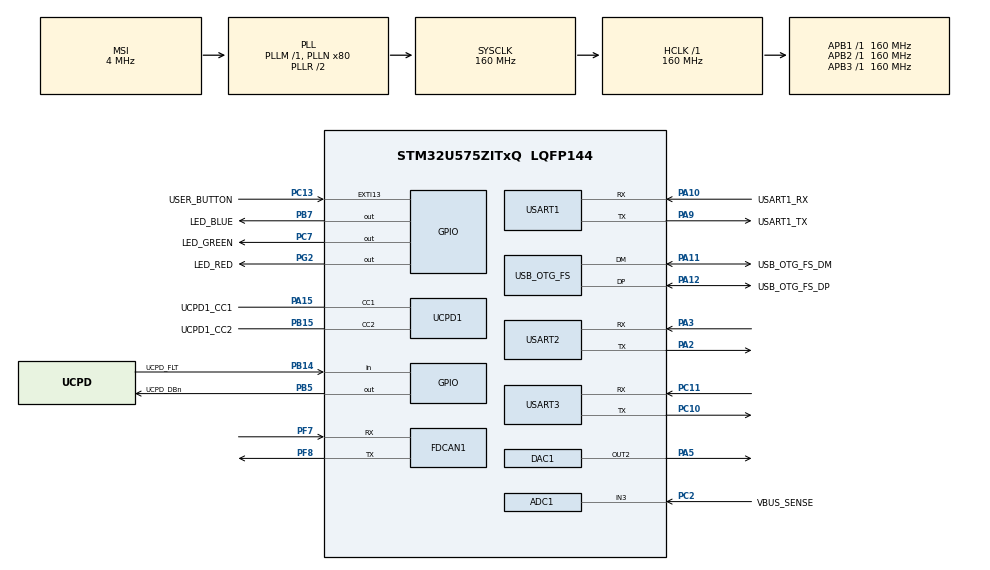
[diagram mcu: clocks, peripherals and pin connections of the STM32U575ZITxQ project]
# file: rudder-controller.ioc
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ADC1.NbrOfConversion=1
ADC1.Resolution=ADC_RESOLUTION_14B
ADC1.master=1
CORTEX_M33_NS.userName=CORTEX_M33
DAC1.DAC_Channel-DAC_OUT2=DAC_CHANNEL_2
FDCAN1.AutoRetransmission=ENABLE
FDCAN1.CalculateBaudRateNominal=1600000
FDCAN1.CalculateTimeBitNominal=625
FDCAN1.CalculateTimeQuantumNominal=31.25
FDCAN1.DataPrescaler=2
FDCAN1.DataSyncJumpWidth=11
FDCAN1.DataTimeSeg1=13
FDCAN1.DataTimeSeg2=11
FDCAN1.ExtFiltersNbr=1
FDCAN1.FrameFormat=FDCAN_FRAME_FD_NO_BRS
FDCAN1.Mode=FDCAN_MODE_EXTERNAL_LOOPBACK
FDCAN1.NominalPrescaler=5
FDCAN1.NominalSyncJumpWidth=3
FDCAN1.NominalTimeSeg1=16
FDCAN1.NominalTimeSeg2=3
FDCAN1.StdFiltersNbr=1
GPDMA1.DESTINC_GPDMACH15=DMA_DINC_INCREMENTED
GPDMA1.IPHANDLE_GPDMACH15-SIMPLEREQUEST_GPDMACH15=__NULL
GPDMA1.RECAP_GPDMACH15=GPDMA1_REQUEST_USART3_RX
GPDMA1.REQUEST_GPDMACH15=GPDMA1_REQUEST_USART3_RX
Mcu.Family=STM32U5
Mcu.Name=STM32U575ZITxQ
Mcu.Package=LQFP144
NVIC.FDCAN1_IT0_IRQn=true\:0\:0\:false\:false\:true\:true\:true\:true
NVIC.FDCAN1_IT1_IRQn=true\:0\:0\:false\:false\:true\:true\:true\:true
NVIC.GPDMA1_Channel15_IRQn=true\:0\:0\:false\:false\:true\:false\:true\:true
NVIC.OTG_FS_IRQn=true\:0\:0\:false\:false\:true\:true\:true\:true
NVIC.PriorityGroup=NVIC_PRIORITYGROUP_3
NVIC.USART3_IRQn=true\:0\:0\:false\:false\:true\:true\:true\:true
PA10.GPIO_Label=USART1_RX
PA10.GPIO_PuPd=GPIO_PULLDOWN
PA10.GPIO_Speed=GPIO_SPEED_FREQ_VERY_HIGH
PA10.Mode=Asynchronous
PA10.Signal=USART1_RX
PA11.GPIO_Label=USB_OTG_FS_DM
PA11.GPIO_Speed=GPIO_SPEED_FREQ_VERY_HIGH
PA11.Mode=Device_Only
PA11.Signal=USB_OTG_FS_DM
PA12.GPIO_Label=USB_OTG_FS_DP
PA12.GPIO_Speed=GPIO_SPEED_FREQ_VERY_HIGH
PA12.Mode=Device_Only
PA12.Signal=USB_OTG_FS_DP
PA13\ (JTMS/SWDIO).Mode=Trace_Asynchronous_SW
PA13\ (JTMS/SWDIO).Signal=DEBUG_JTMS-SWDIO
PA14\ (JTCK/SWCLK).Mode=Trace_Asynchronous_SW
PA14\ (JTCK/SWCLK).Signal=DEBUG_JTCK-SWCLK
PA15\ (JTDI).GPIO_Label=UCPD1_CC1
PA15\ (JTDI).Mode=Sink_AllSignals
PA15\ (JTDI).Signal=UCPD1_CC1
PA2.Mode=Asynchronous
PA2.Signal=USART2_TX
PA3.Mode=Asynchronous
PA3.Signal=USART2_RX
PA5.Signal=COMP_DAC12_group
PA9.GPIO_Label=USART1_TX
PA9.GPIO_PuPd=GPIO_PULLDOWN
PA9.GPIO_Speed=GPIO_SPEED_FREQ_VERY_HIGH
PA9.Mode=Asynchronous
PA9.Signal=USART1_TX
PB14.GPIO_Label=UCPD_FLT
PB14.Signal=GPIO_Input
PB15.GPIO_Label=UCPD1_CC2
PB15.Mode=Sink_AllSignals
PB15.Signal=UCPD1_CC2
PB3\ (JTDO/TRACESWO).Mode=Trace_Asynchronous_SW
PB3\ (JTDO/TRACESWO).Signal=DEBUG_JTDO-SWO
PB5.GPIO_Label=UCPD_DBn
PB5.Signal=GPIO_Output
PB7.GPIO_Label=LED_BLUE
PB7.GPIO_ModeDefaultOutputPP=GPIO_MODE_OUTPUT_PP
PB7.GPIO_PuPd=GPIO_PULLUP
PB7.GPIO_Speed=GPIO_SPEED_FREQ_HIGH
PB7.Signal=GPIO_Output
PC10.Mode=Asynchronous
PC10.Signal=USART3_TX
PC11.Mode=Asynchronous
PC11.Signal=USART3_RX
PC13.GPIO_Label=USER_BUTTON
PC13.GPIO_ModeDefaultEXTI=GPIO_MODE_IT_FALLING
PC13.Signal=GPXTI13
PC14-OSC32_IN\ (PC14).Mode=LSE-External-Oscillator
PC14-OSC32_IN\ (PC14).Signal=RCC_OSC32_IN
PC15-OSC32_OUT\ (PC15).Mode=LSE-External-Oscillator
PC15-OSC32_OUT\ (PC15).Signal=RCC_OSC32_OUT
PC2.GPIO_Label=VBUS_SENSE
PC2.Mode=IN3-Single-Ended
PC2.Signal=ADC1_IN3
PC7.GPIO_Label=LED_GREEN
PC7.GPIO_PuPd=GPIO_PULLUP
PC7.GPIO_Speed=GPIO_SPEED_FREQ_HIGH
PC7.Signal=GPIO_Output
PF7.Mode=FDCAN_Activate
PF7.Signal=FDCAN1_RX
PF8.Mode=FDCAN_Activate
PF8.Signal=FDCAN1_TX
PG2.GPIO_Label=LED_RED
PG2.GPIO_ModeDefaultOutputPP=GPIO_MODE_OUTPUT_PP
PG2.GPIO_PuPd=GPIO_PULLUP
PG2.GPIO_Speed=GPIO_SPEED_FREQ_HIGH
PG2.Signal=GPIO_Output
PWR.PowerMode=PWR_SMPS_SUPPLY
ProjectManager.HeapSize=0x200
ProjectManager.StackSize=0x400
ProjectManager.TargetToolchain=STM32CubeIDE
RCC.ADCFreq_Value=16000000
RCC.AHBFreq_Value=160000000
RCC.APB1Freq_Value=160000000
RCC.APB1TimFreq_Value=160000000
RCC.APB2Freq_Value=160000000
RCC.APB2TimFreq_Value=160000000
RCC.APB3Freq_Value=160000000
RCC.CortexFreq_Value=160000000
RCC.DACCLockSelectionVirtual=RCC_DAC1CLKSOURCE_LSI
RCC.EPOD_VALUE=4000000
RCC.HCLKFreq_Value=160000000
RCC.HSE_VALUE=16000000
RCC.HSI48_VALUE=48000000
RCC.HSI_VALUE=16000000
RCC.LSIDIV_VALUE=32000
RCC.MSI_VALUE=4000000
RCC.PLLN=80
RCC.SYSCLKFreq_VALUE=160000000
RCC.SYSCLKSource=RCC_SYSCLKSOURCE_PLLCLK
RCC.USBFreq_Value=48000000
RCC.VCOOutputFreq_Value=320000000
SH.COMP_DAC12_group.0=DAC1_OUT2,DAC_OUT2
USART1.VirtualMode-Asynchronous=VM_ASYNC
USART2.VirtualMode-Asynchronous=VM_ASYNC
USART3.VirtualMode-Asynchronous=VM_ASYNC
USB_OTG_FS.VirtualMode=Device_Only
VP_GPDMA1_VS_GPDMACH15.Mode=SIMPLEREQUEST_GPDMACH15
VP_ICACHE_VS_ENABLE_ICACHE_MEMORY.Mode=Memoryregions
VP_ICACHE_VS_ICACHE.Mode=DirectMappedCache
VP_LPBAMQUEUE_VS_QUEUE.Mode=QUEUEMODE
VP_LPBAM_VS_SIG1.Mode=SmartRun
VP_LPBAM_VS_SIG4.Mode=LPDMA1
VP_MEMORYMAP_VS_MEMORYMAP.Mode=CurAppReg
VP_PWR_VS_DBSignals.Mode=DisableDeadBatterySignals
VP_PWR_VS_LPOM.Mode=PowerOptimisation
VP_PWR_VS_SECSignals.Mode=Security/Privilege
VP_PWR_Vdda.Mode=isolationVdda
board=NUCLEO-U575ZI-Q

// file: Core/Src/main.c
/* USER CODE BEGIN Header */
/**
  ******************************************************************************
  * @file           : main.c
  * @brief          : Main program body
  ******************************************************************************
  * @attention
  *
  * Copyright (c) 2025 STMicroelectronics.
  * All rights reserved.
  *
  * This software is licensed under terms that can be found in the LICENSE file
  * in the root directory of this software component.
  * If no LICENSE file comes with this software, it is provided AS-IS.
  *
  ******************************************************************************
  */
/* USER CODE END Header */
#include "main.h"

/* USER CODE BEGIN Includes */

#include "RUDDER.h"
#include "RUDDER_PARAMS.h"
#include "RUDDERPID.h"
#include "NMEA0183.h"
#include <stdio.h>

/* USER CODE END Includes */

ADC_HandleTypeDef hadc1;

DAC_HandleTypeDef hdac1;

FDCAN_HandleTypeDef hfdcan1;

UART_HandleTypeDef huart1;
UART_HandleTypeDef huart2;
UART_HandleTypeDef huart3;
DMA_HandleTypeDef handle_GPDMA1_Channel15;

PCD_HandleTypeDef hpcd_USB_OTG_FS;

/* USER CODE BEGIN PV */
FDCAN_FilterTypeDef sFilterConfig;
FDCAN_TxHeaderTypeDef TxHeader1;
FDCAN_RxHeaderTypeDef RxHeader1;
FDCAN_RxHeaderTypeDef RxHeader2;
uint8_t RxData1[64];
uint8_t RxData2[64];
HAL_StatusTypeDef CanStartStatus;

float desiredRudderAngle = 0;

char uartBuffer[128];
/* USER CODE END PV */

void SystemClock_Config(void);
static void SystemPower_Config(void);
static void MX_GPIO_Init(void);
static void MX_GPDMA1_Init(void);
static void MX_ADC1_Init(void);
static void MX_ICACHE_Init(void);
static void MX_UCPD1_Init(void);
static void MX_USART1_UART_Init(void);
static void MX_FDCAN1_Init(void);
static void MX_USART2_UART_Init(void);
static void MX_USART3_UART_Init(void);
static void MX_USB_OTG_FS_PCD_Init(void);
static void MX_DAC1_Init(void);
/* USER CODE BEGIN PFP */
static uint8_t byte_to_dlc(uint8_t len);
static uint8_t dlc_to_bytes(uint8_t len);
/* USER CODE END PFP */

/* USER CODE BEGIN 0 */

NMEA0183 *ecompass;
const char PASHR_ENABLE_CMD[] = "$JASC,PASHR,10\x0D\x0A"; //enables PASHR sentence type
const char GPHDT_FREQ[] = "$JASC,GPHDT,1\x0D\x0A"; //allows heading data received at 10Hz

void uint32_to_little_endian_bytes(uint32_t value, uint8_t bytes[4]) {
    bytes[0] = (uint8_t)(value & 0xFF);
    bytes[1] = (uint8_t)((value >> 8) & 0xFF);
    bytes[2] = (uint8_t)((value >> 16) & 0xFF);
    bytes[3] = (uint8_t)((value >> 24) & 0xFF);
}

/* USER CODE END 0 */

int main(void)
{

  /* USER CODE BEGIN 1 */

  PIDControllerFixed fixedController = getRudderFixedParams();
  initController(fixedController);
  float rudderAngle = 0.0f;

  /* USER CODE END 1 */

  /* MCU Configuration--------------------------------------------------------*/

  /* Reset of all peripherals, Initializes the Flash interface and the Systick. */
  HAL_Init();

  /* Configure the System Power */
  SystemPower_Config();

  /* Configure the system clock */
  SystemClock_Config();

  /* Initialize all configured peripherals */
  MX_GPIO_Init();
  MX_GPDMA1_Init();
  MX_ADC1_Init();
  MX_ICACHE_Init();
  MX_UCPD1_Init();
  MX_USART1_UART_Init();
  MX_FDCAN1_Init();
  MX_USART2_UART_Init();
  MX_USART3_UART_Init();
  MX_USB_OTG_FS_PCD_Init();
  MX_DAC1_Init();
  /* USER CODE BEGIN 2 */

  ecompass = NMEA0183__create(&huart2);

    //signal sent to initialize PASHR sentence type
    if(HAL_UART_Transmit(&huart2, (uint8_t *)PASHR_ENABLE_CMD, 15, HAL_MAX_DELAY) != HAL_OK){
  	  printf("PASHR enable error \x0D\x0A");
    }

    //signal sent to set the transmission frequency for GPHDT sentence type
    if(HAL_UART_Transmit(&huart2, (uint8_t*)GPHDT_FREQ, 16, HAL_MAX_DELAY) != HAL_OK){
  	  printf("GPHDT frequency set error \x0D\x0A");
    }

  //CAN Setup
    /* Configure standard ID reception filter to Rx buffer 0 */
    sFilterConfig.IdType = FDCAN_STANDARD_ID;
    sFilterConfig.FilterIndex = 0;
    sFilterConfig.FilterType = FDCAN_FILTER_RANGE;
    sFilterConfig.FilterConfig = FDCAN_FILTER_TO_RXFIFO0;
    sFilterConfig.FilterID1 = 0x000;
    sFilterConfig.FilterID2 = 0x7FF;
    if (HAL_FDCAN_ConfigFilter(&hfdcan1, &sFilterConfig) != HAL_OK)
    {
      Error_Handler();
    }

    /* Configure extended ID reception filter to Rx FIFO 1 */
    sFilterConfig.IdType = FDCAN_EXTENDED_ID;
    sFilterConfig.FilterIndex = 0;
    sFilterConfig.FilterType = FDCAN_FILTER_RANGE_NO_EIDM;
    sFilterConfig.FilterConfig = FDCAN_FILTER_TO_RXFIFO1;
    sFilterConfig.FilterID1 = 0x1111111;
    sFilterConfig.FilterID2 = 0x2222222;
    if (HAL_FDCAN_ConfigFilter(&hfdcan1, &sFilterConfig) != HAL_OK)
    {
      Error_Handler();
    }

    /* Configure global filter:
       Filter all remote frames with STD and EXT ID
       Reject non matching frames with STD ID and EXT ID */
    if (HAL_FDCAN_ConfigGlobalFilter(&hfdcan1, FDCAN_ACCEPT_IN_RX_FIFO0, FDCAN_ACCEPT_IN_RX_FIFO0, FDCAN_FILTER_REMOTE, FDCAN_FILTER_REMOTE) != HAL_OK)
    {
        Error_Handler();
    }

    /*##-2 Start FDCAN controller (continuous listening CAN bus) ##############*/
    CanStartStatus = HAL_FDCAN_Start(&hfdcan1);
    if (CanStartStatus != HAL_OK)
    {
      Error_Handler();
    }

    if (HAL_FDCAN_ActivateNotification(&hfdcan1, FDCAN_IT_RX_FIFO0_NEW_MESSAGE, 0) != HAL_OK)
    {
      Error_Handler();
    }

    if (HAL_FDCAN_ActivateNotification(&hfdcan1, FDCAN_IT_RX_FIFO1_NEW_MESSAGE, 0) != HAL_OK)
    {
      Error_Handler();
    }
    char uartLine[128];
      uint8_t canDLC, canData[64];
      uint32_t canID = 0;
      uint8_t * txMsg = (uint8_t *) malloc (4);
  /* USER CODE END 2 */

  /* Infinite loop */
  /* USER CODE BEGIN WHILE */
  while (1)
  {
	  while (NMEA0183__itemsInBuffer(ecompass) > 0) {
	  		  NMEA0183Raw *data = NMEA0183__getTopBufferItem(ecompass);
	  		  data->scentenceData[data->scentenceLength] = '\0';
	  		  //testing
	  		  printf("Message: %s", data->scentenceData);

	  		  printf("Data integrity test: %d\x0D\x0A", NMEA0183__checkMessage(data));
	  //		  printf("Message type: %s\x0D\x0A", NMEA0183__getField(data, 0));

	  		  if(NMEA0183__getScentenceType(data) == MESSAGE_SHR){

	  			  int8_t *heading_data = NMEA0183__getField(data, 2);
	  			  int8_t *roll_data = NMEA0183__getField(data, 4);
	  			  int8_t *pitch_data = NMEA0183__getField(data, 5);

	  			  uint32_t heading = (atof(heading_data)+180)*1000; //32 bits
	  			  uint32_t pitch = (atof(pitch_data)+180)*1000; //32 bits
	  			  uint32_t roll = (atof(roll_data)+180)*1000; //32 bits

            controller.live.sailingState.currentHeading = heading / 1000.0f;
            controller.live.sailingState.heelAngle = (roll / 1000.0f) - 180.0f;

	  			  printf("Euler Data: %u, %u, %u \x0D\x0A", heading, roll, pitch);

	  			  uint32_t euler[] = {heading, pitch, roll};
	  			  //Transmission message from receiver board to main board
	  //			  if (CAN_Transmit(0x123, FDCAN_STANDARD_ID, FDCAN_DLC_BYTES_12, (uint8_t *) euler, &hfdcan1) != HAL_OK) {
	  //				  Error_Handler();
	  //			  }

	  		  }
	  		  else if(NMEA0183__getScentenceType(data) == MESSAGE_HDT){
	  			  int8_t *heading_data = NMEA0183__getField(data, 1);

	  			  uint32_t heading = (atof(heading_data)+180)*1000;
	  			  printf("Heading Data: %u \x0D\x0A", heading);

	  			  uint32_t euler[] = {heading};
	  			  //Transmission message from receiver board to main board
	  //			  if (CAN_Transmit(0x123, FDCAN_STANDARD_ID, FDCAN_DLC_BYTES_4, (uint8_t *) euler, &hfdcan1) != HAL_OK) {
	  //				  Error_Handler();
	  //			  }
	  		  }

	  		  printf("\x0D\x0A");

	  		  NMEA0183__incrementReadIndex(ecompass);
	  	  }
	  	  HAL_Delay(50);
	    }
    runPID(&rudderAngle);
}
    /* USER CODE END WHILE */

void SystemClock_Config(void)
{
  RCC_OscInitTypeDef RCC_OscInitStruct = {0};
  RCC_ClkInitTypeDef RCC_ClkInitStruct = {0};

  /** Configure the main internal regulator output voltage
  */
  if (HAL_PWREx_ControlVoltageScaling(PWR_REGULATOR_VOLTAGE_SCALE1) != HAL_OK)
  {
    Error_Handler();
  }

  /** Initializes the CPU, AHB and APB buses clocks
  */
  RCC_OscInitStruct.OscillatorType = RCC_OSCILLATORTYPE_HSI48|RCC_OSCILLATORTYPE_HSI
                              |RCC_OSCILLATORTYPE_LSI|RCC_OSCILLATORTYPE_MSI;
  RCC_OscInitStruct.HSIState = RCC_HSI_ON;
  RCC_OscInitStruct.HSI48State = RCC_HSI48_ON;
  RCC_OscInitStruct.HSICalibrationValue = RCC_HSICALIBRATION_DEFAULT;
  RCC_OscInitStruct.LSIState = RCC_LSI_ON;
  RCC_OscInitStruct.MSIState = RCC_MSI_ON;
  RCC_OscInitStruct.MSICalibrationValue = RCC_MSICALIBRATION_DEFAULT;
  RCC_OscInitStruct.MSIClockRange = RCC_MSIRANGE_4;
  RCC_OscInitStruct.LSIDiv = RCC_LSI_DIV1;
  RCC_OscInitStruct.PLL.PLLState = RCC_PLL_ON;
  RCC_OscInitStruct.PLL.PLLSource = RCC_PLLSOURCE_MSI;
  RCC_OscInitStruct.PLL.PLLMBOOST = RCC_PLLMBOOST_DIV1;
  RCC_OscInitStruct.PLL.PLLM = 1;
  RCC_OscInitStruct.PLL.PLLN = 80;
  RCC_OscInitStruct.PLL.PLLP = 2;
  RCC_OscInitStruct.PLL.PLLQ = 2;
  RCC_OscInitStruct.PLL.PLLR = 2;
  RCC_OscInitStruct.PLL.PLLRGE = RCC_PLLVCIRANGE_0;
  RCC_OscInitStruct.PLL.PLLFRACN = 0;
  if (HAL_RCC_OscConfig(&RCC_OscInitStruct) != HAL_OK)
  {
    Error_Handler();
  }

  /** Initializes the CPU, AHB and APB buses clocks
  */
  RCC_ClkInitStruct.ClockType = RCC_CLOCKTYPE_HCLK|RCC_CLOCKTYPE_SYSCLK
                              |RCC_CLOCKTYPE_PCLK1|RCC_CLOCKTYPE_PCLK2
                              |RCC_CLOCKTYPE_PCLK3;
  RCC_ClkInitStruct.SYSCLKSource = RCC_SYSCLKSOURCE_PLLCLK;
  RCC_ClkInitStruct.AHBCLKDivider = RCC_SYSCLK_DIV1;
  RCC_ClkInitStruct.APB1CLKDivider = RCC_HCLK_DIV1;
  RCC_ClkInitStruct.APB2CLKDivider = RCC_HCLK_DIV1;
  RCC_ClkInitStruct.APB3CLKDivider = RCC_HCLK_DIV1;

  if (HAL_RCC_ClockConfig(&RCC_ClkInitStruct, FLASH_LATENCY_4) != HAL_OK)
  {
    Error_Handler();
  }
}

/**
  * @brief Power Configuration
  * @retval None
  */
static void SystemPower_Config(void)
{
  HAL_PWREx_EnableVddIO2();

  /*
   * Switch to SMPS regulator instead of LDO
   */
  if (HAL_PWREx_ConfigSupply(PWR_SMPS_SUPPLY) != HAL_OK)
  {
    Error_Handler();
  }
}

static void MX_ADC1_Init(void)
{

  /** Common config
  */
  hadc1.Instance = ADC1;
  hadc1.Init.ClockPrescaler = ADC_CLOCK_ASYNC_DIV1;
  hadc1.Init.Resolution = ADC_RESOLUTION_14B;
  hadc1.Init.GainCompensation = 0;
  hadc1.Init.ScanConvMode = ADC_SCAN_DISABLE;
  hadc1.Init.EOCSelection = ADC_EOC_SINGLE_CONV;
  hadc1.Init.LowPowerAutoWait = DISABLE;
  hadc1.Init.ContinuousConvMode = DISABLE;
  hadc1.Init.NbrOfConversion = 1;
  hadc1.Init.DiscontinuousConvMode = DISABLE;
  hadc1.Init.DMAContinuousRequests = DISABLE;
  hadc1.Init.TriggerFrequencyMode = ADC_TRIGGER_FREQ_HIGH;
  hadc1.Init.Overrun = ADC_OVR_DATA_PRESERVED;
  hadc1.Init.LeftBitShift = ADC_LEFTBITSHIFT_NONE;
  hadc1.Init.ConversionDataManagement = ADC_CONVERSIONDATA_DR;
  hadc1.Init.OversamplingMode = DISABLE;
  if (HAL_ADC_Init(&hadc1) != HAL_OK)
  {
    Error_Handler();
  }

}

static void MX_DAC1_Init(void)
{

  DAC_ChannelConfTypeDef sConfig = {0};
  DAC_AutonomousModeConfTypeDef sAutonomousMode = {0};

  /** DAC Initialization
  */
  hdac1.Instance = DAC1;
  if (HAL_DAC_Init(&hdac1) != HAL_OK)
  {
    Error_Handler();
  }

  /** DAC channel OUT2 config
  */
  sConfig.DAC_HighFrequency = DAC_HIGH_FREQUENCY_INTERFACE_MODE_DISABLE;
  sConfig.DAC_DMADoubleDataMode = DISABLE;
  sConfig.DAC_SignedFormat = DISABLE;
  sConfig.DAC_SampleAndHold = DAC_SAMPLEANDHOLD_DISABLE;
  sConfig.DAC_Trigger = DAC_TRIGGER_NONE;
  sConfig.DAC_OutputBuffer = DAC_OUTPUTBUFFER_DISABLE;
  sConfig.DAC_ConnectOnChipPeripheral = DAC_CHIPCONNECT_EXTERNAL;
  sConfig.DAC_UserTrimming = DAC_TRIMMING_FACTORY;
  if (HAL_DAC_ConfigChannel(&hdac1, &sConfig, DAC_CHANNEL_2) != HAL_OK)
  {
    Error_Handler();
  }

  /** Configure Autonomous Mode
  */
  sAutonomousMode.AutonomousModeState = DAC_AUTONOMOUS_MODE_DISABLE;
  if (HAL_DACEx_SetConfigAutonomousMode(&hdac1, &sAutonomousMode) != HAL_OK)
  {
    Error_Handler();
  }

}

static void MX_FDCAN1_Init(void)
{

  hfdcan1.Instance = FDCAN1;
  hfdcan1.Init.ClockDivider = FDCAN_CLOCK_DIV1;
  hfdcan1.Init.FrameFormat = FDCAN_FRAME_FD_NO_BRS;
  hfdcan1.Init.Mode = FDCAN_MODE_EXTERNAL_LOOPBACK;
  hfdcan1.Init.AutoRetransmission = ENABLE;
  hfdcan1.Init.TransmitPause = DISABLE;
  hfdcan1.Init.ProtocolException = DISABLE;
  hfdcan1.Init.NominalPrescaler = 5;
  hfdcan1.Init.NominalSyncJumpWidth = 3;
  hfdcan1.Init.NominalTimeSeg1 = 16;
  hfdcan1.Init.NominalTimeSeg2 = 3;
  hfdcan1.Init.DataPrescaler = 2;
  hfdcan1.Init.DataSyncJumpWidth = 11;
  hfdcan1.Init.DataTimeSeg1 = 13;
  hfdcan1.Init.DataTimeSeg2 = 11;
  hfdcan1.Init.StdFiltersNbr = 1;
  hfdcan1.Init.ExtFiltersNbr = 1;
  hfdcan1.Init.TxFifoQueueMode = FDCAN_TX_FIFO_OPERATION;
  if (HAL_FDCAN_Init(&hfdcan1) != HAL_OK)
  {
    Error_Handler();
  }

}

static void MX_GPDMA1_Init(void)
{

  /* Peripheral clock enable */
  __HAL_RCC_GPDMA1_CLK_ENABLE();

  /* GPDMA1 interrupt Init */
    HAL_NVIC_SetPriority(GPDMA1_Channel15_IRQn, 0, 0);
    HAL_NVIC_EnableIRQ(GPDMA1_Channel15_IRQn);

}

static void MX_ICACHE_Init(void)
{

  /** Enable instruction cache in 1-way (direct mapped cache)
  */
  if (HAL_ICACHE_ConfigAssociativityMode(ICACHE_1WAY) != HAL_OK)
  {
    Error_Handler();
  }
  if (HAL_ICACHE_Enable() != HAL_OK)
  {
    Error_Handler();
  }

}

static void MX_UCPD1_Init(void)
{

  LL_GPIO_InitTypeDef GPIO_InitStruct = {0};

  /* Peripheral clock enable */
  LL_APB1_GRP2_EnableClock(LL_APB1_GRP2_PERIPH_UCPD1);

  LL_AHB2_GRP1_EnableClock(LL_AHB2_GRP1_PERIPH_GPIOB);
  LL_AHB2_GRP1_EnableClock(LL_AHB2_GRP1_PERIPH_GPIOA);
  /**UCPD1 GPIO Configuration
  PB15   ------> UCPD1_CC2
  PA15 (JTDI)   ------> UCPD1_CC1
  */
  GPIO_InitStruct.Pin = LL_GPIO_PIN_15;
  GPIO_InitStruct.Mode = LL_GPIO_MODE_ANALOG;
  GPIO_InitStruct.Pull = LL_GPIO_PULL_NO;
  LL_GPIO_Init(GPIOB, &GPIO_InitStruct);

  GPIO_InitStruct.Pin = LL_GPIO_PIN_15;
  GPIO_InitStruct.Mode = LL_GPIO_MODE_ANALOG;
  GPIO_InitStruct.Pull = LL_GPIO_PULL_NO;
  LL_GPIO_Init(GPIOA, &GPIO_InitStruct);

}

static void MX_USART1_UART_Init(void)
{

  huart1.Instance = USART1;
  huart1.Init.BaudRate = 115200;
  huart1.Init.WordLength = UART_WORDLENGTH_8B;
  huart1.Init.StopBits = UART_STOPBITS_1;
  huart1.Init.Parity = UART_PARITY_NONE;
  huart1.Init.Mode = UART_MODE_TX_RX;
  huart1.Init.HwFlowCtl = UART_HWCONTROL_NONE;
  huart1.Init.OverSampling = UART_OVERSAMPLING_16;
  huart1.Init.OneBitSampling = UART_ONE_BIT_SAMPLE_DISABLE;
  huart1.Init.ClockPrescaler = UART_PRESCALER_DIV1;
  huart1.AdvancedInit.AdvFeatureInit = UART_ADVFEATURE_NO_INIT;
  if (HAL_UART_Init(&huart1) != HAL_OK)
  {
    Error_Handler();
  }
  if (HAL_UARTEx_SetTxFifoThreshold(&huart1, UART_TXFIFO_THRESHOLD_1_8) != HAL_OK)
  {
    Error_Handler();
  }
  if (HAL_UARTEx_SetRxFifoThreshold(&huart1, UART_RXFIFO_THRESHOLD_1_8) != HAL_OK)
  {
    Error_Handler();
  }
  if (HAL_UARTEx_DisableFifoMode(&huart1) != HAL_OK)
  {
    Error_Handler();
  }

}

static void MX_USART2_UART_Init(void)
{

  huart2.Instance = USART2;
  huart2.Init.BaudRate = 115200;
  huart2.Init.WordLength = UART_WORDLENGTH_8B;
  huart2.Init.StopBits = UART_STOPBITS_1;
  huart2.Init.Parity = UART_PARITY_NONE;
  huart2.Init.Mode = UART_MODE_TX_RX;
  huart2.Init.HwFlowCtl = UART_HWCONTROL_NONE;
  huart2.Init.OverSampling = UART_OVERSAMPLING_16;
  huart2.Init.OneBitSampling = UART_ONE_BIT_SAMPLE_DISABLE;
  huart2.Init.ClockPrescaler = UART_PRESCALER_DIV1;
  huart2.AdvancedInit.AdvFeatureInit = UART_ADVFEATURE_NO_INIT;
  if (HAL_UART_Init(&huart2) != HAL_OK)
  {
    Error_Handler();
  }
  if (HAL_UARTEx_SetTxFifoThreshold(&huart2, UART_TXFIFO_THRESHOLD_1_8) != HAL_OK)
  {
    Error_Handler();
  }
  if (HAL_UARTEx_SetRxFifoThreshold(&huart2, UART_RXFIFO_THRESHOLD_1_8) != HAL_OK)
  {
    Error_Handler();
  }
  if (HAL_UARTEx_DisableFifoMode(&huart2) != HAL_OK)
  {
    Error_Handler();
  }

}

static void MX_USART3_UART_Init(void)
{

  huart3.Instance = USART3;
  huart3.Init.BaudRate = 115200;
  huart3.Init.WordLength = UART_WORDLENGTH_8B;
  huart3.Init.StopBits = UART_STOPBITS_1;
  huart3.Init.Parity = UART_PARITY_NONE;
  huart3.Init.Mode = UART_MODE_TX_RX;
  huart3.Init.HwFlowCtl = UART_HWCONTROL_NONE;
  huart3.Init.OverSampling = UART_OVERSAMPLING_16;
  huart3.Init.OneBitSampling = UART_ONE_BIT_SAMPLE_DISABLE;
  huart3.Init.ClockPrescaler = UART_PRESCALER_DIV1;
  huart3.AdvancedInit.AdvFeatureInit = UART_ADVFEATURE_NO_INIT;
  if (HAL_UART_Init(&huart3) != HAL_OK)
  {
    Error_Handler();
  }
  if (HAL_UARTEx_SetTxFifoThreshold(&huart3, UART_TXFIFO_THRESHOLD_1_8) != HAL_OK)
  {
    Error_Handler();
  }
  if (HAL_UARTEx_SetRxFifoThreshold(&huart3, UART_RXFIFO_THRESHOLD_1_8) != HAL_OK)
  {
    Error_Handler();
  }
  if (HAL_UARTEx_DisableFifoMode(&huart3) != HAL_OK)
  {
    Error_Handler();
  }

}

static void MX_USB_OTG_FS_PCD_Init(void)
{

  hpcd_USB_OTG_FS.Instance = USB_OTG_FS;
  hpcd_USB_OTG_FS.Init.dev_endpoints = 6;
  hpcd_USB_OTG_FS.Init.speed = PCD_SPEED_FULL;
  hpcd_USB_OTG_FS.Init.phy_itface = PCD_PHY_EMBEDDED;
  hpcd_USB_OTG_FS.Init.Sof_enable = DISABLE;
  hpcd_USB_OTG_FS.Init.low_power_enable = DISABLE;
  hpcd_USB_OTG_FS.Init.lpm_enable = DISABLE;
  hpcd_USB_OTG_FS.Init.battery_charging_enable = DISABLE;
  hpcd_USB_OTG_FS.Init.use_dedicated_ep1 = DISABLE;
  hpcd_USB_OTG_FS.Init.vbus_sensing_enable = DISABLE;
  hpcd_USB_OTG_FS.Init.dma_enable = DISABLE;
  if (HAL_PCD_Init(&hpcd_USB_OTG_FS) != HAL_OK)
  {
    Error_Handler();
  }

}

static void MX_GPIO_Init(void)
{
  GPIO_InitTypeDef GPIO_InitStruct = {0};

  /* GPIO Ports Clock Enable */
  __HAL_RCC_GPIOC_CLK_ENABLE();
  __HAL_RCC_GPIOF_CLK_ENABLE();
  __HAL_RCC_GPIOA_CLK_ENABLE();
  __HAL_RCC_GPIOB_CLK_ENABLE();
  __HAL_RCC_GPIOG_CLK_ENABLE();

  /*Configure GPIO pin Output Level */
  HAL_GPIO_WritePin(LED_RED_GPIO_Port, LED_RED_Pin, GPIO_PIN_RESET);

  /*Configure GPIO pin Output Level */
  HAL_GPIO_WritePin(LED_GREEN_GPIO_Port, LED_GREEN_Pin, GPIO_PIN_RESET);

  /*Configure GPIO pin Output Level */
  HAL_GPIO_WritePin(GPIOB, UCPD_DBn_Pin|LED_BLUE_Pin, GPIO_PIN_RESET);

  /*Configure GPIO pin : USER_BUTTON_Pin */
  GPIO_InitStruct.Pin = USER_BUTTON_Pin;
  GPIO_InitStruct.Mode = GPIO_MODE_IT_FALLING;
  GPIO_InitStruct.Pull = GPIO_NOPULL;
  HAL_GPIO_Init(USER_BUTTON_GPIO_Port, &GPIO_InitStruct);

  /*Configure GPIO pin : UCPD_FLT_Pin */
  GPIO_InitStruct.Pin = UCPD_FLT_Pin;
  GPIO_InitStruct.Mode = GPIO_MODE_INPUT;
  GPIO_InitStruct.Pull = GPIO_NOPULL;
  HAL_GPIO_Init(UCPD_FLT_GPIO_Port, &GPIO_InitStruct);

  /*Configure GPIO pin : LED_RED_Pin */
  GPIO_InitStruct.Pin = LED_RED_Pin;
  GPIO_InitStruct.Mode = GPIO_MODE_OUTPUT_PP;
  GPIO_InitStruct.Pull = GPIO_PULLUP;
  GPIO_InitStruct.Speed = GPIO_SPEED_FREQ_HIGH;
  HAL_GPIO_Init(LED_RED_GPIO_Port, &GPIO_InitStruct);

  /*Configure GPIO pin : LED_GREEN_Pin */
  GPIO_InitStruct.Pin = LED_GREEN_Pin;
  GPIO_InitStruct.Mode = GPIO_MODE_OUTPUT_PP;
  GPIO_InitStruct.Pull = GPIO_PULLUP;
  GPIO_InitStruct.Speed = GPIO_SPEED_FREQ_HIGH;
  HAL_GPIO_Init(LED_GREEN_GPIO_Port, &GPIO_InitStruct);

  /*Configure GPIO pin : UCPD_DBn_Pin */
  GPIO_InitStruct.Pin = UCPD_DBn_Pin;
  GPIO_InitStruct.Mode = GPIO_MODE_OUTPUT_PP;
  GPIO_InitStruct.Pull = GPIO_NOPULL;
  GPIO_InitStruct.Speed = GPIO_SPEED_FREQ_LOW;
  HAL_GPIO_Init(UCPD_DBn_GPIO_Port, &GPIO_InitStruct);

  /*Configure GPIO pin : LED_BLUE_Pin */
  GPIO_InitStruct.Pin = LED_BLUE_Pin;
  GPIO_InitStruct.Mode = GPIO_MODE_OUTPUT_PP;
  GPIO_InitStruct.Pull = GPIO_PULLUP;
  GPIO_InitStruct.Speed = GPIO_SPEED_FREQ_HIGH;
  HAL_GPIO_Init(LED_BLUE_GPIO_Port, &GPIO_InitStruct);

}

/* USER CODE BEGIN 4 */
static uint8_t dlc_to_bytes(uint8_t dlc) {
    static const uint8_t dlc_lut[16] = {
        0, 1, 2, 3, 4, 5, 6, 7, 8, 12, 16, 20, 24, 32, 48, 64
    };
    return dlc_lut[dlc & 0x0F];
}

static uint8_t byte_to_dlc(uint8_t len) {
	if (len <= 8) return len;
    else if (len == 12) return 9;
    else if (len == 16) return 10;
    else if (len == 20) return 11;
    else if (len == 24) return 12;
    else if (len == 32) return 13;
    else if (len == 48) return 14;
    else return 15;
}

uint32_t little_endian_bytes_to_uint(const uint8_t *bytes, uint8_t length) {
    uint32_t value = 0;
    for (uint8_t i = 0; i < length; i++) {
        value |= ((uint32_t)bytes[i]) << (8 * i);
    }
    return value;
}

uint32_t little_endian_bytes_to_uint32(const uint8_t *bytes) {
    return little_endian_bytes_to_uint(bytes, 4);
}

uint16_t little_endian_bytes_to_uint16(const uint8_t *bytes) {
    return (uint16_t)little_endian_bytes_to_uint(bytes, 2);
}

uint8_t little_endian_bytes_to_uint8(const uint8_t *bytes) {
    return (uint8_t)little_endian_bytes_to_uint(bytes, 1);
}

void unpackGPSData(uint8_t * rxData) {
    uint32_t raw_speed = little_endian_bytes_to_uint32(&rxData[16]);
    controller.live.sailingState.linearVelocity = raw_speed / 3600; // speed in m/s
}

void unpackWindData(uint8_t * rxData) {
    uint16_t raw_wind_direction = little_endian_bytes_to_uint16(&rxData[0]);
    uint16_t raw_wind_speed = little_endian_bytes_to_uint16(&rxData[4]);
    controller.live.windState.windDirection = 360 - raw_wind_direction; // wind direction in degrees
    controller.live.windState.windSpeed = raw_wind_speed / 0.194384f; // wind speed in m/s
}

void unpackHeadingData(uint8_t * rxData) {
    uint32_t raw_heading = little_endian_bytes_to_uint32(&rxData[0]);
    controller.live.sailingState.desiredHeading = raw_heading / 1000; // heading in degrees
}

void unpackCoefficients(uint8_t * rxData) {
    // Unpack PID coefficients from rxData and set them in controller settings
    uint32_t raw_kp = little_endian_bytes_to_uint32(&rxData[0]);
    uint32_t raw_ki = little_endian_bytes_to_uint32(&rxData[8]);
    uint32_t raw_kd = little_endian_bytes_to_uint32(&rxData[16]);

    controller.fixed.standardCoeffs.Kp = raw_kp / 1000000.0f;
    controller.fixed.standardCoeffs.Ki = raw_ki / 1000000.0f;
    controller.fixed.standardCoeffs.Kd = raw_kd / 1000000.0f;
}
void processCANFrames(FDCAN_RxHeaderTypeDef *rxHeader, uint8_t *rxData) {
  // Need a switch based on rxHeader->Identifier
  // WITHIN EACH CASE, extract data from rxData and set variable in sailing state
  switch(rxHeader->Identifier) {

    case 0x001:
        // Desired heading
        unpackHeadingData(rxData);
        break;

    // case 0x040: {
    //     // Wind data 1
    //     void unpackWindData(rxData) {
    // }

    case 0x041:
        // Wind data 2
        unpackWindData(rxData);
        break;

    case 0x070:
      //GPS Data
      unpackGPSData(rxData);
      break;

    case 0x200:
        // PID Coefficients
        unpackCoefficients(rxData);
        break;

    default:
    	break;
  }
}

void HAL_FDCAN_RxFifo0MsgPendingCallback(FDCAN_HandleTypeDef *hfdcan, uint32_t RxFifo0ITs)
{
    // Read message from RX FIFO 0
    if (HAL_FDCAN_GetRxMessage(hfdcan, FDCAN_RX_FIFO0, &RxHeader1, RxData1) != HAL_OK)
    {
        Error_Handler();
    }
    // Process the received message
    processCANFrames(&RxHeader1, RxData1);
}
/* USER CODE END 4 */

void Error_Handler(void)
{
  __disable_irq();
  while (1)
  {
  }
}
